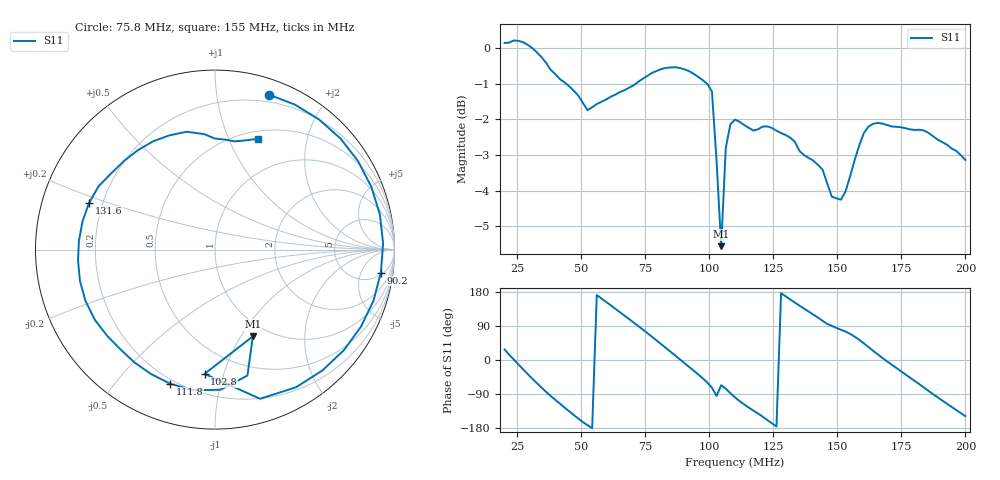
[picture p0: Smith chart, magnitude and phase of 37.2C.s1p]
# HZ S RI R 50
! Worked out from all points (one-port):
!   101 points, 20 MHz to 200 MHz, reference 50 ohm
!   lowest |S11| = -5.6 dB at 104.6 MHz (marker M1), VSWR 3.23, Z = 42.1 - j56.4 ohm
!   |S11| at or under -10 dB: nowhere
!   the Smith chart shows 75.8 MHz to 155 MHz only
!   S11 on the Smith chart (normalised r, x): 75.8 MHz: 0.13, +1.40; 90.2 MHz: 6, -12; 102.8 MHz: 0.32, -0.87; 111.8 MHz: 0.18, -0.71; 131.6 MHz: 0.15, +0.18; 155 MHz: 0.59, +1.28
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2e7  0.8985 0.4737
2.54e7  1.001 -0.2079
3.26e7  0.476 -0.863
3.8e7  -0.0781 -0.9282
4.34e7  -0.5169 -0.7301
4.88e7  -0.7748 -0.3661
5.42e7  -0.8256 -0.00136
6.5e7  -0.5138 0.6979
7.58e7  0.3007 0.8627
8.3e7  0.7968 0.4934
8.84e7  0.9366 0.0342
9.02e7  0.9241 -0.1281
9.92e7  0.4514 -0.767
1.028e8  -0.0581 -0.6923
1.046e8  0.2107 -0.4835
1.064e8  0.1809 -0.7014
1.1e8  -0.1201 -0.7842
1.118e8  -0.2494 -0.7473
1.226e8  -0.7213 -0.2868
1.316e8  -0.7019 0.2595
1.334e8  -0.6487 0.3527
1.424e8  -0.2549 0.6363
1.55e8  0.2381 0.6171
1.604e8  0.5511 0.5239
1.658e8  0.7593 0.199
1.784e8  0.527 -0.5596
1.874e8  -0.00283 -0.7518
2e8  -0.5911 -0.3684
